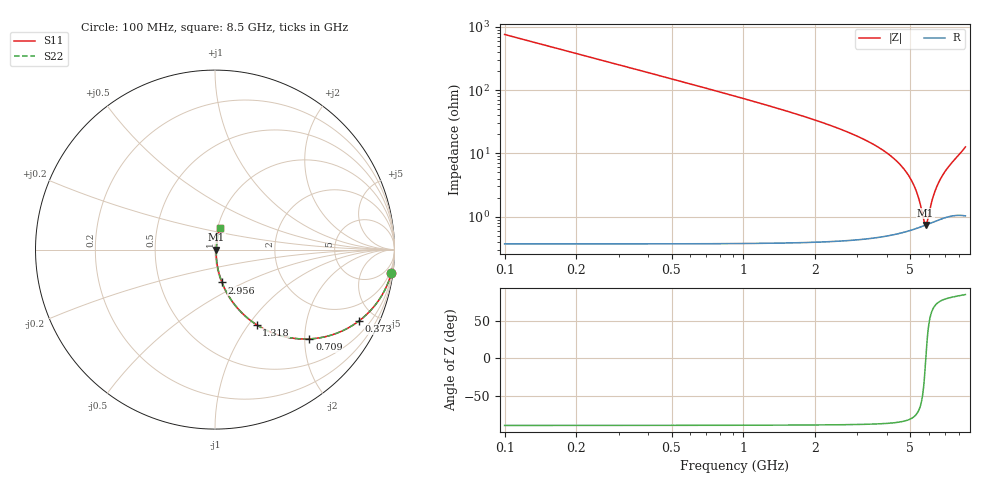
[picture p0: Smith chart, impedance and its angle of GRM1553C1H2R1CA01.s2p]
!Murata Part Number: GRM1553C1H2R1CA01
!These Parameters are Measured in Series Mode Connection
!Data Generated on Mar 30, 2021
!  o--ll--o
!Port1  Port2
!  o------o
!Operation Temp=25[degC], DC Bias Voltage=0[V]
!Freq. Start=100[MHz] Stop=9[GHz] 401[Steps]
# Hz S RI R 50
!Freq.(Hz) S11(Real) S11(Imag) S21(Real) S21(Imag) S12(Real) S12(Imag) S22(Real) S22(Imag)
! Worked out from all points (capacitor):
!   401 points, 100 MHz to 8.5 GHz, reference 50 ohm
!   read as one part in series: C = 2.1 pF near 142 MHz
!   lowest |Z| = 737 mohm at 5.791 GHz (marker M1)
!   series resonance near 5.803 GHz, so ESL is about 360 pH
!   S11 on the Smith chart (normalised r, x): 100 MHz: 1, -15; 373 MHz: 1.01, -4.05; 709 MHz: 1.01, -2.11; 1.318 GHz: 1.01, -1.09; 2.956 GHz: 1.01, -0.38; 8.5 GHz: 1.02, +0.25
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1e8  0.9828 -0.1297  0.0172 0.1297  0.0172 0.1297  0.9828 -0.1297
2.26e8  0.9179 -0.274  0.0821 0.274  0.0821 0.274  0.9179 -0.274
3.73e8  0.8033 -0.3966  0.1967 0.3966  0.1967 0.3966  0.8033 -0.3966
7.09e8  0.5259 -0.4976  0.4741 0.4976  0.4741 0.4976  0.5259 -0.4976
1.003e9  0.3506 -0.4746  0.6494 0.4746  0.6494 0.4746  0.3506 -0.4746
1.318e9  0.2312 -0.4182  0.7688 0.4182  0.7688 0.4182  0.2312 -0.4182
1.507e9  0.1828 -0.3824  0.8172 0.3824  0.8172 0.3824  0.1828 -0.3824
2.095e9  0.0935 -0.2849  0.9065 0.2849  0.9065 0.2849  0.0935 -0.2849
2.914e9  0.0407 -0.1869  0.9593 0.1869  0.9593 0.1869  0.0407 -0.1869
2.956e9  0.039 -0.1828  0.961 0.1828  0.961 0.1828  0.039 -0.1828
4.3e9  0.0115 -0.0792  0.9885 0.0792  0.9885 0.0792  0.0115 -0.0792
4.783e9  0.00834 -0.0509  0.9917 0.0509  0.9917 0.0509  0.00834 -0.0509
5.161e9  0.0072 -0.0308  0.9928 0.0308  0.9928 0.0308  0.0072 -0.0308
5.434e9  0.00697 -0.0173  0.993 0.0173  0.993 0.0173  0.00697 -0.0173
5.707e9  0.00716 -0.0044  0.9928 0.0044  0.9928 0.0044  0.00716 -0.0044
5.791e9  0.00729 -0.000557  0.9927 0.000557  0.9927 0.000557  0.00729 -0.000557
5.875e9  0.00746 0.00324  0.9925 -0.00324  0.9925 -0.00324  0.00746 0.00324
6.127e9  0.00813 0.0143  0.9919 -0.0143  0.9919 -0.0143  0.00813 0.0143
6.379e9  0.00905 0.025  0.991 -0.025  0.991 -0.025  0.00905 0.025
6.694e9  0.0105 0.038  0.9895 -0.038  0.9895 -0.038  0.0105 0.038
7.114e9  0.0127 0.0548  0.9873 -0.0548  0.9873 -0.0548  0.0127 0.0548
8.5e9  0.0253 0.1216  0.9747 -0.1216  0.9747 -0.1216  0.0253 0.1216
